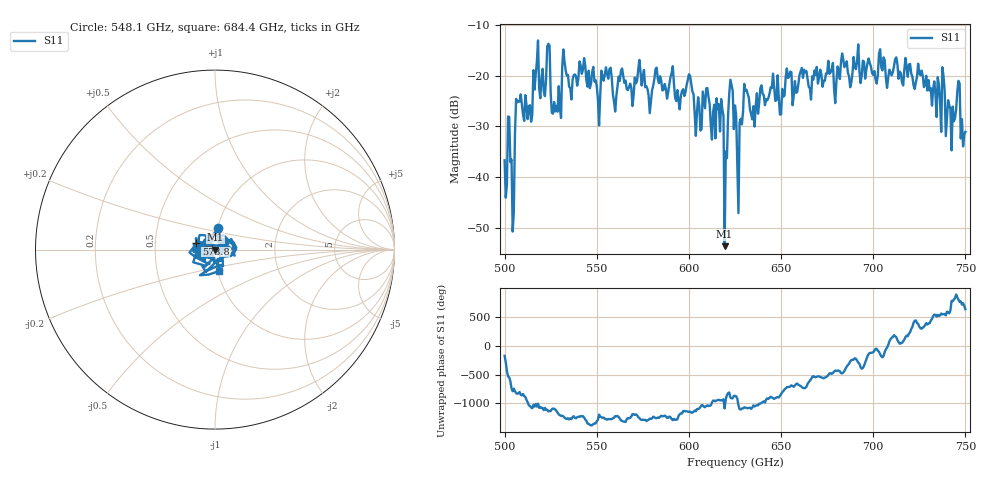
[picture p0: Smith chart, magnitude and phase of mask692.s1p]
!Created with skrf (http://scikit-rf.org).
# GHz S MA R 50.0
!freq magS11 angS11
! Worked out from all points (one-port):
!   401 points, 500 GHz to 750 GHz, reference 50 ohm
!   lowest |S11| = -53.6 dB at 619.4 GHz (marker M1), VSWR 1.00, Z = 50.2 - j0.0307 ohm
!   |S11| at or under -10 dB: start of sweep to end of sweep
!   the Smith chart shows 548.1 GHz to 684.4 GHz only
!   S11 on the Smith chart (normalised r, x): 548.1 GHz: 1.01, +0.25; 573.8 GHz: 0.81, +0.06; 684.4 GHz: 1.02, -0.25
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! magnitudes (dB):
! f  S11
! 500 GHz  -36.7
! 502.5 GHz  -28.1
! 504.4 GHz  -50.8
! 507.5 GHz  -25.1
! 513.8 GHz  -25.8
! 516.9 GHz  -19.7
! 523.8 GHz  -13.7
! 526.9 GHz  -25.2
! 531.2 GHz  -18.2
! 548.1 GHz  -18.3
! 562.5 GHz  -21.0
! 573.8 GHz  -19.3
! 593.8 GHz  -22.8
! 600 GHz  -19.7
! 616.2 GHz  -25.6
! 619.4 GHz  -53.6
! 622.5 GHz  -20.8
! 625 GHz  -25.9
! 627.5 GHz  -29.2
! 631.2 GHz  -22.8
! 634.4 GHz  -28.6
! 656.2 GHz  -25.8
! 684.4 GHz  -18.3
! 687.5 GHz  -22.3
! 718.8 GHz  -20.2
! 743.1 GHz  -26.1
! 745.6 GHz  -23.1
! 750 GHz  -31.1
